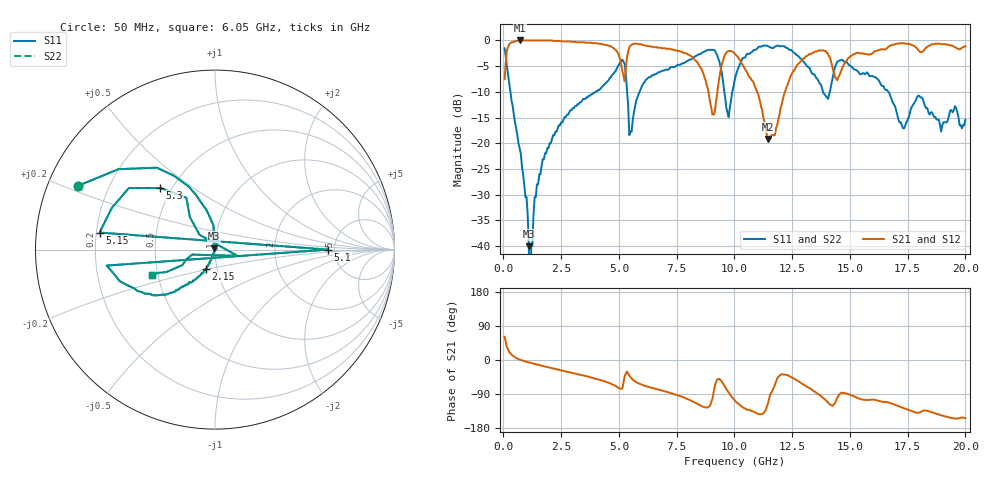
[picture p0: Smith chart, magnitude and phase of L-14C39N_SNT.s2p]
#	mhz	s	ma	r	50
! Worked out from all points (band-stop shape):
!   400 points, 50 MHz to 20 GHz, reference 50 ohm
!   highest |S21| = 0.00 dB at 700 MHz (marker M1); lowest = -19.2 dB at 11.45 GHz (marker M2)
!   |S21| within 3 dB of the highest: 127.5 MHz to 5.002 GHz (4.875 GHz wide, 190 % of centre); 15.04 GHz to end of sweep (the widest 2 of 5)
!   lowest |S11| = -40.0 dB at 1.1 GHz (marker M3), VSWR 1.02, Z = 49.4 + j0.784 ohm
!   |S11| at or under -10 dB: 302.9 MHz to 3.981 GHz (3.678 GHz wide, 172 % of centre); 5.356 GHz to 5.891 GHz (534.9 MHz wide, 9.51 % of centre); 16.67 GHz to end of sweep (the widest 3 of 5)
!   |S22| runs from - to -1.0 dB; largest |S21 - S12| = 0
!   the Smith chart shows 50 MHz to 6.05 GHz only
!   S11 on the Smith chart (normalised r, x): 50 MHz: 0.09, +0.22; 2.15 GHz: 0.88, -0.19; 5.1 GHz: 4.41, +0.00; 5.15 GHz: 0.21, +0.07; 5.3 GHz: 0.43, +0.38; 6.05 GHz: 0.46, -0.15
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50  0.84 154.9  0.42 61.1  0.42 61.1  0.84 154.9
700  0.09 91.2  1 1.2  1 1.2  0.09 91.2
1100  0.01 127.5  1 -6.4  1 -6.4  0.01 127.5
1150  0 155.0  1 -7.3  1 -7.3  0 155.0
1200  0.01 21.0  1 -8.1  1 -8.1  0.01 21.0
1350  0.03 -111.7  1 -10.4  1 -10.4  0.03 -111.7
2150  0.12 -115.2  0.99 -22.3  0.99 -22.3  0.12 -115.2
3400  0.26 -129.9  0.96 -40.2  0.96 -40.2  0.26 -129.9
5050  0.61 -171.6  0.66 -75.9  0.66 -75.9  0.61 -171.6
5100  0.63 0.0  0.58 -75.6  0.58 -75.6  0.63 0.0
5150  0.65 171.6  0.5 -75.2  0.5 -75.2  0.65 171.6
5300  0.46 131.7  0.54 -36.0  0.54 -36.0  0.46 131.7
6050  0.38 -158.5  0.9 -66.8  0.9 -66.8  0.38 -158.5
6700  0.49 -170.7  0.85 -77.8  0.85 -77.8  0.49 -170.7
7050  0.52 -178.4  0.83 -83.8  0.83 -83.8  0.52 -178.4
7100  0.52 0.6  0.83 -84.5  0.83 -84.5  0.52 0.6
7200  0.54 178.5  0.83 -86.4  0.83 -86.4  0.54 178.5
10050  0.45 154.1  0.73 -109.3  0.73 -109.3  0.45 154.1
11450  0.88 97.1  0.11 -114.9  0.11 -114.9  0.88 97.1
13350  0.48 41.1  0.75 -78.8  0.75 -78.8  0.48 41.1
16700  0.31 -14.2  0.88 -112.6  0.88 -112.6  0.31 -14.2
20000  0.17 -76.7  0.88 -153.3  0.88 -153.3  0.17 -76.7
